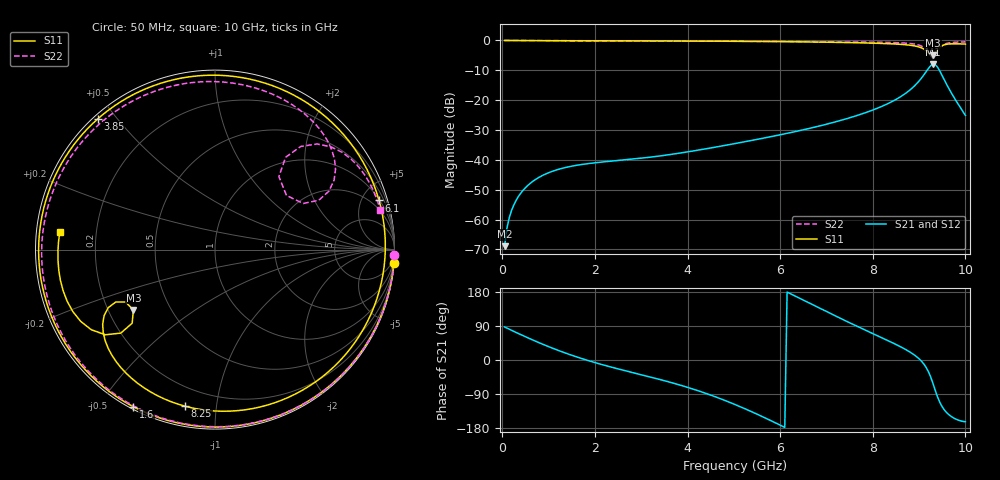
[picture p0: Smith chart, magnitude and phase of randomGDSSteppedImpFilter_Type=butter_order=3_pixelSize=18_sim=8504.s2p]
! freq	dB(S11)	phase(S11)	dB(S12)	phase(S12)
!  dB(S21)	phase(S21)	dB(S22)	phase(S22)
!S-par simulation data
#  GHz  S  DB  R 50
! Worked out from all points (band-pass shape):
!   200 points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, 50 MHz to 10 GHz, reference 50 ohm
!   highest |S21| = -7.94 dB at 9.3 GHz (marker M1); lowest = -68.9 dB at 50 MHz (marker M2)
!   |S21| within 3 dB of the highest: 9.13 GHz to 9.471 GHz (341.2 MHz wide, 3.67 % of centre)
!   lowest |S11| = -4.9 dB at 9.3 GHz (marker M3), VSWR 3.60, Z = 15.3 - j15.1 ohm
!   |S11| at or under -10 dB: nowhere
!   |S22| runs from -6.0 to 0.0 dB; largest |S21 - S12| = 0
!   S11 on the Smith chart (normalised r, x): 50 MHz: 0, -27; 1.6 GHz: 0.01, -0.61; 3.85 GHz: 0.01, +0.45; 6.1 GHz: 1.08, +6.65; 8.25 GHz: 0.10, -0.82; 10 GHz: 0.07, +0.06
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0.05  -0.00 -4.2  -68.91 87.1  -68.91 87.1  -0.00 -1.6
0.1  -0.01 -8.5  -62.90 84.1  -62.90 84.1  -0.00 -3.3
0.2  -0.03 -16.8  -56.94 78.3  -56.94 78.3  -0.01 -6.5
0.45  -0.05 -37.3  -50.16 64.1  -50.16 64.1  -0.02 -14.5
1  -0.09 -78.8  -44.30 35.2  -44.30 35.2  -0.04 -32.1
1.6  -0.12 -117.5  -41.83 8.4  -41.83 8.4  -0.06 -51.1
1.75  -0.12 -126.2  -41.46 2.5  -41.46 2.5  -0.07 -55.7
2.55  -0.14 -167.7  -40.14 -25.0  -40.14 -25.0  -0.10 -80.4
3.4  -0.17 152.6  -38.69 -51.4  -38.69 -51.4  -0.14 -106.3
3.85  -0.19 131.9  -37.69 -66.6  -37.69 -66.6  -0.16 -120.1
4.5  -0.23 101.0  -36.01 -92.6  -36.01 -92.6  -0.20 -140.2
5.05  -0.28 73.4  -34.47 -118.7  -34.47 -118.7  -0.24 -157.7
6.1  -0.41 16.7  -31.28 -177.8  -31.28 -177.8  -0.34 166.4
6.7  -0.51 -16.8  -29.21 145.8  -29.21 145.8  -0.40 143.9
7.5  -0.72 -60.8  -25.91 98.3  -25.91 98.3  -0.50 111.0
8.25  -1.03 -100.8  -21.71 55.6  -21.71 55.6  -0.64 77.0
8.35  -1.09 -106.2  -20.98 49.9  -20.98 49.9  -0.67 72.3
9  -2.20 -143.4  -13.57 3.1  -13.57 3.1  -1.58 37.0
9.15  -3.39 -151.5  -10.50 -19.2  -10.50 -19.2  -2.93 27.2
9.3  -4.95 -143.5  -7.94 -61.9  -7.94 -61.9  -6.02 37.2
9.5  -1.71 -147.0  -11.83 -123.7  -11.83 -123.7  -1.75 46.0
10  -1.21 173.5  -25.09 -162.9  -25.09 -162.9  -0.48 13.5
